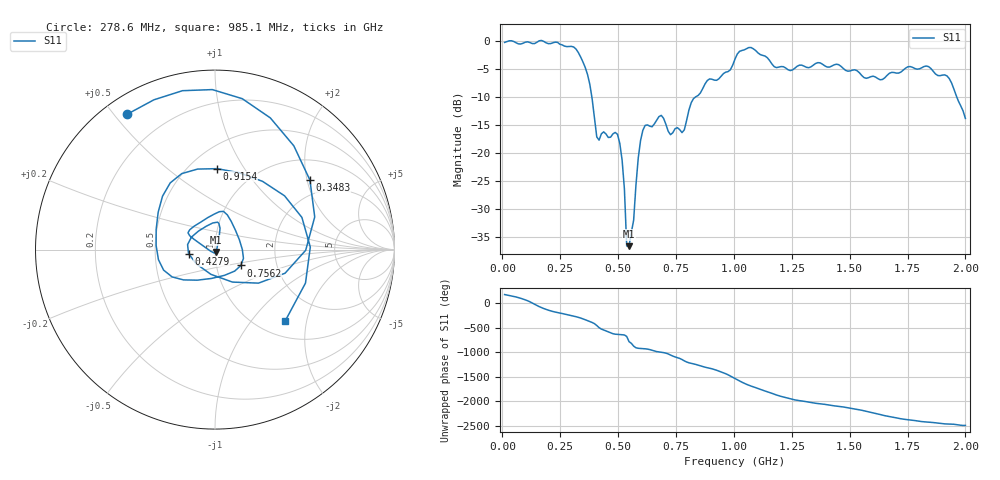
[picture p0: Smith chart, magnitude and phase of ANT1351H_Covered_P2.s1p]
!Created with skrf (http://scikit-rf.org).
# Hz S RI R 50.0
!freq ReS11 ImS11
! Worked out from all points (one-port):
!   201 points, 10 MHz to 2 GHz, reference 50 ohm
!   lowest |S11| = -36.6 dB at 547.3 MHz (marker M1), VSWR 1.03, Z = 50.6 - j1.37 ohm
!   |S11| at or under -10 dB: 387 MHz to 832.7 MHz (445.7 MHz wide, 73.1 % of centre); 1.963 GHz to end of sweep
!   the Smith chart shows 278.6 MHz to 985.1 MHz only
!   S11 on the Smith chart (normalised r, x): 278.6 MHz: 0.07, +0.54; 348.3 MHz: 1.53, +2.08; 427.9 MHz: 0.74, -0.03; 756.2 MHz: 1.31, -0.24; 915.5 MHz: 0.67, +0.76; 985.1 MHz: 1.30, -1.50
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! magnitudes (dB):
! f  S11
! 10 MHz  -0.2
! 258.8 MHz  -0.6
! 278.6 MHz  -0.9
! 348.3 MHz  -3.7
! 378.1 MHz  -7.7
! 408 MHz  -17.1
! 427.9 MHz  -16.5
! 507.5 MHz  -18.3
! 527.4 MHz  -26.4
! 537.4 MHz  -36.6
! 547.3 MHz  -36.6
! 567.2 MHz  -32.0
! 587.1 MHz  -20.9
! 607 MHz  -15.9
! 686.6 MHz  -13.2
! 726.4 MHz  -16.7
! 756.2 MHz  -15.4
! 786.1 MHz  -15.8
! 825.9 MHz  -10.2
! 915.5 MHz  -6.9
! 985.1 MHz  -5.1
! 1.005 GHz  -3.2
! 1.075 GHz  -1.1
! 1.254 GHz  -5.1
! 1.502 GHz  -5.3
! 1.751 GHz  -4.5
! 1.92 GHz  -6.2
! 2 GHz  -13.8
